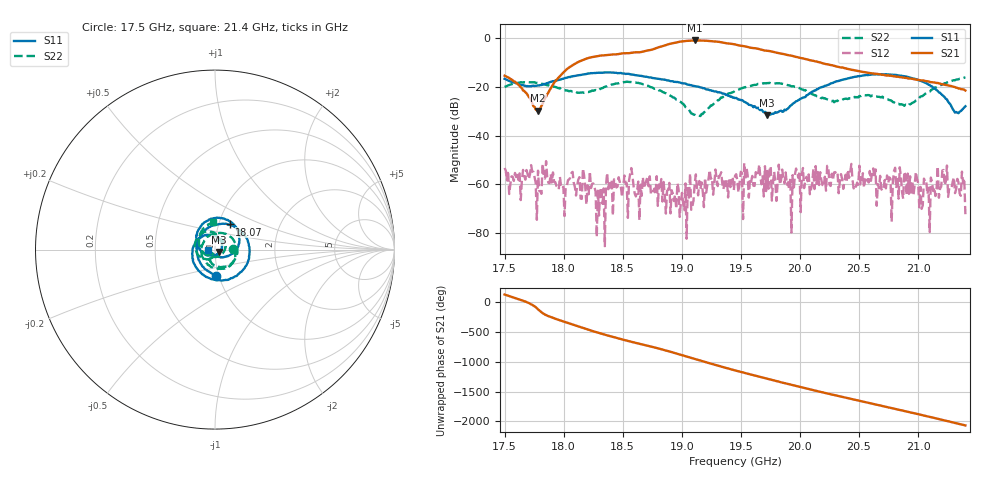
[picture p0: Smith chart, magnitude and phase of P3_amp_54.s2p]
!Created with skrf (http://scikit-rf.org).
# GHz S RI R 50.0
!freq ReS11 ImS11 ReS21 ImS21 ReS12 ImS12 ReS22 ImS22
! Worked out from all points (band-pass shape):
!   401 points, 17.5 GHz to 21.4 GHz, reference 50 ohm
!   highest |S21| = -1.08 dB at 19.11 GHz (marker M1); lowest = -29.8 dB at 17.78 GHz (marker M2)
!   |S21| within 3 dB of the highest: 18.79 GHz to 19.59 GHz (794.9 MHz wide, 4.14 % of centre)
!   lowest |S11| = -31.6 dB at 19.72 GHz (marker M3), VSWR 1.05, Z = 52.3 - j1.34 ohm
!   |S11| at or under -10 dB: start of sweep to end of sweep
!   |S22| runs from -32.0 to -16.3 dB; largest |S21 - S12| = 0.88
!   S11 on the Smith chart (normalised r, x): 17.5 GHz: 0.97, -0.29; 18.07 GHz: 1.13, +0.32; 21.4 GHz: 0.92, -0.00
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17.5  0.00815 -0.1446  -0.0826 0.1455  -0.0014 0.00166  0.0983 0.00161
17.78275  -0.0953 0.0466  -0.0196 -0.0256  0.00038 0.00187  0.0584 -0.1039
17.84125  -0.0726 0.0876  -0.0473 0.0321  -0.000373 0.00126  0.0248 -0.1069
17.99725  0.0298 0.1423  0.1684 0.0975  0.000584 0.000679  -0.0493 -0.0702
18.0655  0.082 0.1399  0.2538 -0.0733  0.00137 0.00103  -0.0725 -0.0365
18.15325  0.1407 0.1045  0.0986 -0.3309  0.000483 -0.000145  -0.0732 0.0185
18.32875  0.1913 -0.0288  -0.435 0.00198  0.0004 2.37e-05  0.0187 0.0915
18.514  0.0983 -0.1579  0.0829 0.4761  0.00107 -0.00108  0.124 0.000732
18.8065  -0.1055 -0.0985  0.2908 -0.5755  -0.000423 0.0009  -0.00818 -0.0836
18.99175  -0.1181 0.0221  -0.8155 -0.1873  -0.00042 8.11e-05  -0.0343 -0.0341
19.10875  -0.0749 0.0699  -0.4998 0.7275  -0.000973 0.00031  -0.0179 -0.0197
19.294  6.1e-05 0.079  0.7949 0.2651  0.000251 0.00132  -0.0195 -0.0459
19.45  0.0329 0.048  0.2803 -0.6752  0.00144 -0.000381  -0.0655 -0.0502
19.59625  0.0387 0.0119  -0.4949 -0.3733  0.00146 -0.000304  -0.106 -0.00803
19.723  0.0229 -0.0128  -0.4849 0.2452  0.000226 -0.00187  -0.1056 0.0537
19.86925  -0.00821 -0.0329  0.0826 0.4523  -0.000259 -0.00102  -0.0524 0.0997
20.10325  -0.0788 -0.00608  0.2856 -0.185  -0.000662 -0.000747  0.015 0.0684
20.386  -0.0929 0.1095  -0.2271 -0.0689  -0.000725 0.0014  0.0125 0.0555
20.7565  0.0853 0.1554  0.1389 0.0932  0.000476 0.00131  0.0528 -0.00512
21.01975  0.1304 0.0203  0.00624 -0.1351  0.000854 -0.000245  -0.0572 -0.0256
21.2245  0.0423 -0.0438  -0.1091 0.0064  -0.000306 -0.000912  -0.0843 0.0814
21.4  -0.0397 -7.63e-06  -0.00443 0.0834  -0.000187 -0.000159  -0.00845 0.1537
